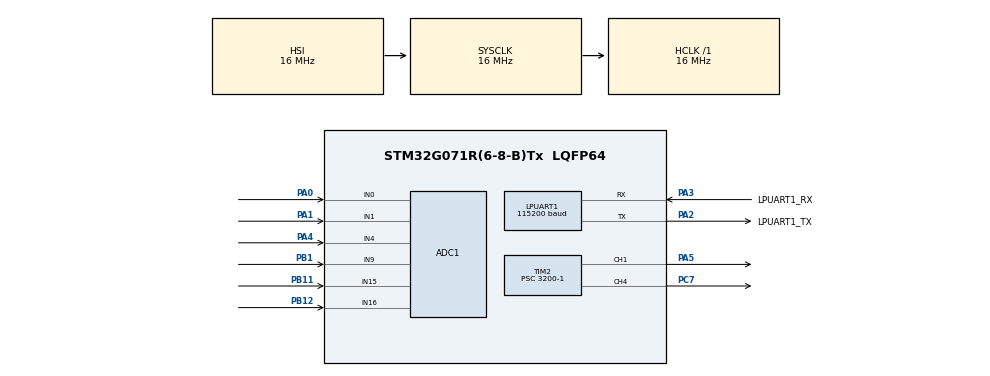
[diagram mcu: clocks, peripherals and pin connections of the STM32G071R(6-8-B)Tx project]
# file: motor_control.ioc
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ADC1.Channel-0\#ChannelRegularConversion=ADC_CHANNEL_0
ADC1.NbrOfConversionFlag=1
ADC1.Rank-0\#ChannelRegularConversion=1
ADC1.SamplingTime-0\#ChannelRegularConversion=ADC_SAMPLINGTIME_COMMON_1
ADC1.master=1
LPUART1.BaudRate=115200
LPUART1.WordLength=UART_WORDLENGTH_8B
Mcu.Family=STM32G0
Mcu.Name=STM32G071R(6-8-B)Tx
Mcu.Package=LQFP64
PA0.Mode=IN0
PA0.Signal=ADC1_IN0
PA1.Mode=IN1
PA1.Signal=ADC1_IN1
PA13.GPIO_Label=TMS
PA13.Mode=Serial_Wire
PA13.Signal=SYS_SWDIO
PA14-BOOT0.GPIO_Label=TCK
PA14-BOOT0.Mode=Serial_Wire
PA14-BOOT0.Signal=SYS_SWCLK
PA2.GPIO_Label=LPUART1_TX
PA2.Mode=Asynchronous
PA2.Signal=LPUART1_TX
PA3.GPIO_Label=LPUART1_RX
PA3.Mode=Asynchronous
PA3.Signal=LPUART1_RX
PA4.Mode=IN4
PA4.Signal=ADC1_IN4
PA5.Signal=S_TIM2_CH1
PB1.Mode=IN9
PB1.Signal=ADC1_IN9
PB11.Mode=IN15
PB11.Signal=ADC1_IN15
PB12.Mode=IN16
PB12.Signal=ADC1_IN16
PC13.Mode=SYS_WakeUp1
PC13.Signal=SYS_WKUP2
PC14-OSC32_IN\ (PC14).Mode=LSE-External-Oscillator
PC14-OSC32_IN\ (PC14).Signal=RCC_OSC32_IN
PC15-OSC32_OUT\ (PC15).Mode=LSE-External-Oscillator
PC15-OSC32_OUT\ (PC15).Signal=RCC_OSC32_OUT
PC7.Signal=S_TIM2_CH4
PF0-OSC_IN\ (PF0).GPIO_Label=MCO
PF0-OSC_IN\ (PF0).Mode=HSE-External-Clock-Source
PF0-OSC_IN\ (PF0).Signal=RCC_OSC_IN
ProjectManager.HeapSize=0x200
ProjectManager.StackSize=0x400
ProjectManager.TargetToolchain=STM32CubeIDE
RCC.AHBFreq_Value=16000000
RCC.CortexFreq_Value=16000000
RCC.EXTERNAL_CLOCK_VALUE=12288000
RCC.HCLKFreq_Value=16000000
RCC.HSE_VALUE=8000000
RCC.HSI_VALUE=16000000
RCC.SYSCLKFreq_VALUE=16000000
RCC.VCOOutputFreq_Value=128000000
SH.S_TIM2_CH1.0=TIM2_CH1,PWM Generation1 CH1
SH.S_TIM2_CH4.0=TIM2_CH4,PWM Generation4 CH4
TIM2.Channel-PWM\ Generation1\ CH1=TIM_CHANNEL_1
TIM2.Channel-PWM\ Generation4\ CH4=TIM_CHANNEL_4
TIM2.Period=100-1
TIM2.Prescaler=3200-1
VP_SYS_VS_DBSignals.Mode=DisableDeadBatterySignals
board=NUCLEO-G071RB

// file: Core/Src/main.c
/* USER CODE BEGIN Header */
/**
  ******************************************************************************
  * @file           : main.c
  * @brief          : Main program body
  ******************************************************************************
  * @attention
  *
  * <h2><center>&copy; Copyright (c) 2019 STMicroelectronics.
  * All rights reserved.</center></h2>
  *
  * This software component is licensed by ST under BSD 3-Clause license,
  * the "License"; You may not use this file except in compliance with the
  * License. You may obtain a copy of the License at:
  *                        opensource.org/licenses/BSD-3-Clause
  *
  ******************************************************************************
  */
/* USER CODE END Header */

#include "main.h"

/* USER CODE BEGIN Includes */
#include <string.h>
#include <stdio.h>
#include <stdlib.h>
#include <errno.h>
#include <sys/unistd.h> // STDOUT_FILENO, STDERR_FILENO
/* USER CODE END Includes */

/* USER CODE BEGIN PM */
#define BASIC_TEST 0
#define CONSOLE_TEST 1

#define MAX_BUF_LEN 2
/* USER CODE END PM */

ADC_HandleTypeDef hadc1;

UART_HandleTypeDef hlpuart1;

TIM_HandleTypeDef htim2;

void SystemClock_Config(void);
static void MX_GPIO_Init(void);
static void MX_LPUART1_UART_Init(void);
static void MX_TIM2_Init(void);
static void MX_ADC1_Init(void);
/* USER CODE BEGIN PFP */
void user_pwm_setvalue(TIM_HandleTypeDef *htim, uint32_t channel, uint16_t value);

/*custom system call for printf*/
int _write(int file, char *data, int len);
/* USER CODE END PFP */

int main(void)
{
  /* USER CODE BEGIN 1 */
  char *msg = "\r\nMotor Control Demo begin : PWM/D3 on PB3\n\r";
  uint16_t pwm_value = 0;
  int16_t step = 0;
#if CONSOLE_TEST
  msg = "\r\nEnter 2 digit PWM value 1 unit = 0.2 ms \r\nCentre = 1.5 ms, Right 90 = 2 ms, Left 90 = 1 ms \n\r";
  char buf[MAX_BUF_LEN];
  int ret = 0;
  uint16_t inVal;
#endif

  /* USER CODE END 1 */

  /* MCU Configuration--------------------------------------------------------*/

  /* Reset of all peripherals, Initializes the Flash interface and the Systick. */
  HAL_Init();

  /* Configure the system clock */
  SystemClock_Config();

  /* Initialize all configured peripherals */
  MX_GPIO_Init();
  MX_LPUART1_UART_Init();
  MX_TIM2_Init();
  MX_ADC1_Init();
  /* USER CODE BEGIN 2 */
  HAL_UART_Transmit(&hlpuart1, (uint8_t*)msg, strlen(msg), 0xFFFF);
  HAL_TIM_PWM_Start(&htim2, TIM_CHANNEL_1); 	/* LED LD4 */
  HAL_TIM_PWM_Start(&htim2, TIM_CHANNEL_4); 	/* Motor */
  /* USER CODE END 2 */

  /* Infinite loop */
  while (1)
  {

    /* USER CODE BEGIN 3 */
#if CONSOLE_TEST

	  /*ret = fgets(buf, sizeof(buf), stdin);
	  if(0 < ret)
		  printf("%u", inVal);*/

	  while(HAL_UART_Receive(&hlpuart1, (uint8_t*)buf, 2, 0xFFFF) != HAL_OK);
	  pwm_value = atoi(buf);
	  printf("Value entered = %d\r\n",pwm_value);

	  user_pwm_setvalue(&htim2, TIM_CHANNEL_1, pwm_value);
	  user_pwm_setvalue(&htim2, TIM_CHANNEL_4, pwm_value);
	  printf("\r\npwm value = %d    1 unit = 0.2 ms    Pos = %d \r\n", pwm_value, pwm_value*2);
	  printf("Centre = 1.5 ms, Right 90 = 2 ms, Left 90 = 1 ms\r\n");

#endif

#if BASIC_TEST
	pwm_value = 7; /* 1 unit = 0.2 ms, 7 = 1.5 ms = 0 degree*/
	user_pwm_setvalue(&htim2, TIM_CHANNEL_1, pwm_value);
	user_pwm_setvalue(&htim2, TIM_CHANNEL_4, pwm_value);
	printf("\r\npwm value = %d = 1.5 ms ===> Centre\n\r", pwm_value);

	HAL_Delay(5000);  //2 sec

	pwm_value = 10; /* 1 unit = 0.2 ms, 10 = 2 ms = 90 degree right*/
	user_pwm_setvalue(&htim2, TIM_CHANNEL_1, pwm_value);
	user_pwm_setvalue(&htim2, TIM_CHANNEL_4, pwm_value);
	printf("\r\npwm value = %d = 2 ms ===> 90 Right\n\r", pwm_value);

	HAL_Delay(5000);

	pwm_value = 5; /* 1 unit = 0.2 ms, 5 = 1 ms = 90 degree left*/
	user_pwm_setvalue(&htim2, TIM_CHANNEL_1, pwm_value);
	user_pwm_setvalue(&htim2, TIM_CHANNEL_4, pwm_value);
	printf("\r\npwm value = %d = 1 ms ===> 90 Left\n\r", pwm_value);

	printf("\r\n==================================================\n\r");
	HAL_Delay(5000);

//	if(pwm_value == 0) step = 1;
//	if(pwm_value == 100) step = -1;
//	pwm_value += step;
//	user_pwm_setvalue(&htim2, TIM_CHANNEL_1, pwm_value);  /* LED LD4 */
//	user_pwm_setvalue(&htim2, TIM_CHANNEL_4, pwm_value);  /* Motor */
//	printf("pwm value = %d\n\r", pwm_value);
#endif
  }
  /* USER CODE END 3 */
}

void SystemClock_Config(void)
{
  RCC_OscInitTypeDef RCC_OscInitStruct = {0};
  RCC_ClkInitTypeDef RCC_ClkInitStruct = {0};
  RCC_PeriphCLKInitTypeDef PeriphClkInit = {0};

  /** Configure the main internal regulator output voltage
  */
  HAL_PWREx_ControlVoltageScaling(PWR_REGULATOR_VOLTAGE_SCALE1);
  /** Initializes the CPU, AHB and APB busses clocks
  */
  RCC_OscInitStruct.OscillatorType = RCC_OSCILLATORTYPE_HSI;
  RCC_OscInitStruct.HSIState = RCC_HSI_ON;
  RCC_OscInitStruct.HSIDiv = RCC_HSI_DIV1;
  RCC_OscInitStruct.HSICalibrationValue = RCC_HSICALIBRATION_DEFAULT;
  RCC_OscInitStruct.PLL.PLLState = RCC_PLL_NONE;
  if (HAL_RCC_OscConfig(&RCC_OscInitStruct) != HAL_OK)
  {
    Error_Handler();
  }
  /** Initializes the CPU, AHB and APB busses clocks
  */
  RCC_ClkInitStruct.ClockType = RCC_CLOCKTYPE_HCLK|RCC_CLOCKTYPE_SYSCLK
                              |RCC_CLOCKTYPE_PCLK1;
  RCC_ClkInitStruct.SYSCLKSource = RCC_SYSCLKSOURCE_HSI;
  RCC_ClkInitStruct.AHBCLKDivider = RCC_SYSCLK_DIV1;
  RCC_ClkInitStruct.APB1CLKDivider = RCC_HCLK_DIV1;

  if (HAL_RCC_ClockConfig(&RCC_ClkInitStruct, FLASH_LATENCY_0) != HAL_OK)
  {
    Error_Handler();
  }
  /** Initializes the peripherals clocks
  */
  PeriphClkInit.PeriphClockSelection = RCC_PERIPHCLK_LPUART1|RCC_PERIPHCLK_ADC;
  PeriphClkInit.Lpuart1ClockSelection = RCC_LPUART1CLKSOURCE_PCLK1;
  PeriphClkInit.AdcClockSelection = RCC_ADCCLKSOURCE_SYSCLK;
  if (HAL_RCCEx_PeriphCLKConfig(&PeriphClkInit) != HAL_OK)
  {
    Error_Handler();
  }
}

static void MX_ADC1_Init(void)
{

  ADC_ChannelConfTypeDef sConfig = {0};

  /** Configure the global features of the ADC (Clock, Resolution, Data Alignment and number of conversion)
  */
  hadc1.Instance = ADC1;
  hadc1.Init.ClockPrescaler = ADC_CLOCK_SYNC_PCLK_DIV2;
  hadc1.Init.Resolution = ADC_RESOLUTION_12B;
  hadc1.Init.DataAlign = ADC_DATAALIGN_RIGHT;
  hadc1.Init.ScanConvMode = ADC_SCAN_DISABLE;
  hadc1.Init.EOCSelection = ADC_EOC_SINGLE_CONV;
  hadc1.Init.LowPowerAutoWait = DISABLE;
  hadc1.Init.LowPowerAutoPowerOff = DISABLE;
  hadc1.Init.ContinuousConvMode = DISABLE;
  hadc1.Init.NbrOfConversion = 1;
  hadc1.Init.DiscontinuousConvMode = DISABLE;
  hadc1.Init.ExternalTrigConv = ADC_SOFTWARE_START;
  hadc1.Init.ExternalTrigConvEdge = ADC_EXTERNALTRIGCONVEDGE_NONE;
  hadc1.Init.DMAContinuousRequests = DISABLE;
  hadc1.Init.Overrun = ADC_OVR_DATA_PRESERVED;
  hadc1.Init.SamplingTimeCommon1 = ADC_SAMPLETIME_1CYCLE_5;
  hadc1.Init.SamplingTimeCommon2 = ADC_SAMPLETIME_1CYCLE_5;
  hadc1.Init.OversamplingMode = DISABLE;
  hadc1.Init.TriggerFrequencyMode = ADC_TRIGGER_FREQ_HIGH;
  if (HAL_ADC_Init(&hadc1) != HAL_OK)
  {
    Error_Handler();
  }
  /** Configure Regular Channel
  */
  sConfig.Channel = ADC_CHANNEL_0;
  sConfig.Rank = ADC_REGULAR_RANK_1;
  sConfig.SamplingTime = ADC_SAMPLINGTIME_COMMON_1;
  if (HAL_ADC_ConfigChannel(&hadc1, &sConfig) != HAL_OK)
  {
    Error_Handler();
  }

}

static void MX_LPUART1_UART_Init(void)
{

  hlpuart1.Instance = LPUART1;
  hlpuart1.Init.BaudRate = 115200;
  hlpuart1.Init.WordLength = UART_WORDLENGTH_8B;
  hlpuart1.Init.StopBits = UART_STOPBITS_1;
  hlpuart1.Init.Parity = UART_PARITY_NONE;
  hlpuart1.Init.Mode = UART_MODE_TX_RX;
  hlpuart1.Init.HwFlowCtl = UART_HWCONTROL_NONE;
  hlpuart1.Init.OneBitSampling = UART_ONE_BIT_SAMPLE_DISABLE;
  hlpuart1.Init.ClockPrescaler = UART_PRESCALER_DIV1;
  hlpuart1.AdvancedInit.AdvFeatureInit = UART_ADVFEATURE_NO_INIT;
  hlpuart1.FifoMode = UART_FIFOMODE_DISABLE;
  if (HAL_UART_Init(&hlpuart1) != HAL_OK)
  {
    Error_Handler();
  }
  if (HAL_UARTEx_SetTxFifoThreshold(&hlpuart1, UART_TXFIFO_THRESHOLD_1_8) != HAL_OK)
  {
    Error_Handler();
  }
  if (HAL_UARTEx_SetRxFifoThreshold(&hlpuart1, UART_RXFIFO_THRESHOLD_1_8) != HAL_OK)
  {
    Error_Handler();
  }
  if (HAL_UARTEx_DisableFifoMode(&hlpuart1) != HAL_OK)
  {
    Error_Handler();
  }

}

static void MX_TIM2_Init(void)
{

  TIM_MasterConfigTypeDef sMasterConfig = {0};
  TIM_OC_InitTypeDef sConfigOC = {0};

  htim2.Instance = TIM2;
  htim2.Init.Prescaler = 3200-1;
  htim2.Init.CounterMode = TIM_COUNTERMODE_UP;
  htim2.Init.Period = 100-1;
  htim2.Init.ClockDivision = TIM_CLOCKDIVISION_DIV1;
  htim2.Init.AutoReloadPreload = TIM_AUTORELOAD_PRELOAD_DISABLE;
  if (HAL_TIM_PWM_Init(&htim2) != HAL_OK)
  {
    Error_Handler();
  }
  sMasterConfig.MasterOutputTrigger = TIM_TRGO_RESET;
  sMasterConfig.MasterSlaveMode = TIM_MASTERSLAVEMODE_DISABLE;
  if (HAL_TIMEx_MasterConfigSynchronization(&htim2, &sMasterConfig) != HAL_OK)
  {
    Error_Handler();
  }
  sConfigOC.OCMode = TIM_OCMODE_PWM1;
  sConfigOC.Pulse = 0;
  sConfigOC.OCPolarity = TIM_OCPOLARITY_HIGH;
  sConfigOC.OCFastMode = TIM_OCFAST_DISABLE;
  if (HAL_TIM_PWM_ConfigChannel(&htim2, &sConfigOC, TIM_CHANNEL_1) != HAL_OK)
  {
    Error_Handler();
  }
  if (HAL_TIM_PWM_ConfigChannel(&htim2, &sConfigOC, TIM_CHANNEL_4) != HAL_OK)
  {
    Error_Handler();
  }
  HAL_TIM_MspPostInit(&htim2);

}

static void MX_GPIO_Init(void)
{

  /* GPIO Ports Clock Enable */
  __HAL_RCC_GPIOC_CLK_ENABLE();
  __HAL_RCC_GPIOF_CLK_ENABLE();
  __HAL_RCC_GPIOA_CLK_ENABLE();
  __HAL_RCC_GPIOB_CLK_ENABLE();

}

/* USER CODE BEGIN 4 */
void user_pwm_setvalue(TIM_HandleTypeDef *htim, uint32_t channel, uint16_t value)
{
	 TIM_OC_InitTypeDef sConfigOC;

	 /* Common settings for all channels */
	 sConfigOC.OCMode = TIM_OCMODE_PWM1;
	 sConfigOC.Pulse = value;
	 sConfigOC.OCPolarity = TIM_OCPOLARITY_HIGH;
	 sConfigOC.OCFastMode = TIM_OCFAST_DISABLE;
	 HAL_TIM_PWM_ConfigChannel(htim, &sConfigOC, channel);
	 HAL_TIM_PWM_Start(htim, channel);
}

int _write(int file, char *data, int len)
{
	if ((file != STDOUT_FILENO) && (file != STDERR_FILENO))
	{
	  errno = EBADF;
	  return -1;
	}

	// arbitrary timeout 1000
	HAL_StatusTypeDef status =
	  HAL_UART_Transmit(&hlpuart1, (uint8_t*)data, len, 1000);

	// return # of bytes written - as best we can tell
	return (status == HAL_OK ? len : 0);
}

/* USER CODE END 4 */

void Error_Handler(void)
{
}

/************************ (C) COPYRIGHT STMicroelectronics *****END OF FILE****/
